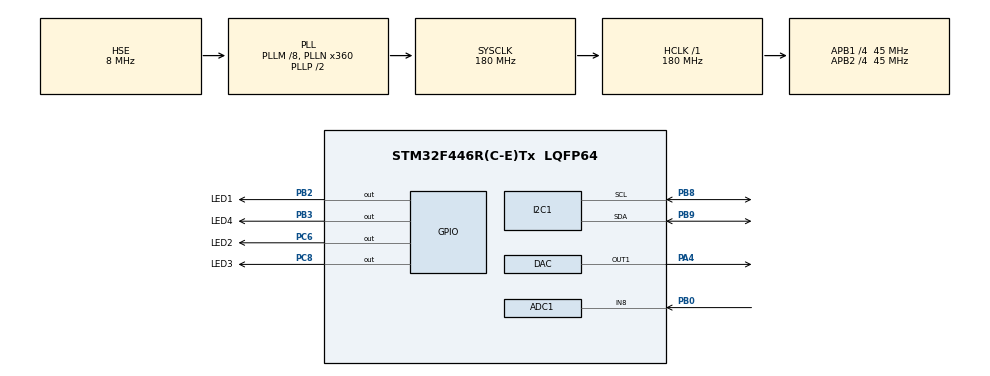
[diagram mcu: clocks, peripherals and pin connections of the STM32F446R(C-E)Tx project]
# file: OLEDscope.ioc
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ADC1.Channel-8\#ChannelRegularConversion=ADC_CHANNEL_8
ADC1.ClockPrescaler=ADC_CLOCK_SYNC_PCLK_DIV2
ADC1.DataAlign=ADC_DATAALIGN_RIGHT
ADC1.ExternalTrigConv=ADC_EXTERNALTRIGCONV_T3_TRGO
ADC1.NbrOfConversionFlag=1
ADC1.Rank-8\#ChannelRegularConversion=1
ADC1.SamplingTime-8\#ChannelRegularConversion=ADC_SAMPLETIME_3CYCLES
ADC1.master=1
DAC.DAC_Trigger=DAC_TRIGGER_T6_TRGO
Dma.DAC1.0.Direction=DMA_MEMORY_TO_PERIPH
Dma.DAC1.0.FIFOMode=DMA_FIFOMODE_ENABLE
Dma.DAC1.0.FIFOThreshold=DMA_FIFO_THRESHOLD_FULL
Dma.DAC1.0.Instance=DMA1_Stream5
Dma.DAC1.0.MemBurst=DMA_MBURST_SINGLE
Dma.DAC1.0.MemDataAlignment=DMA_MDATAALIGN_WORD
Dma.DAC1.0.MemInc=DMA_MINC_ENABLE
Dma.DAC1.0.Mode=DMA_CIRCULAR
Dma.DAC1.0.PeriphBurst=DMA_PBURST_SINGLE
Dma.DAC1.0.PeriphDataAlignment=DMA_PDATAALIGN_WORD
Dma.DAC1.0.PeriphInc=DMA_PINC_DISABLE
Dma.DAC1.0.Priority=DMA_PRIORITY_HIGH
Dma.Request0=DAC1
I2C1.I2C_Mode=I2C_Fast
Mcu.Family=STM32F4
Mcu.Name=STM32F446R(C-E)Tx
Mcu.Package=LQFP64
NVIC.ADC_IRQn=true\:0\:0\:false\:false\:true\:true\:true\:true
NVIC.DMA1_Stream5_IRQn=true\:0\:0\:false\:false\:true\:false\:true\:true
NVIC.PriorityGroup=NVIC_PRIORITYGROUP_4
PA13.Mode=Serial_Wire
PA13.Signal=SYS_JTMS-SWDIO
PA14.Mode=Serial_Wire
PA14.Signal=SYS_JTCK-SWCLK
PA4.Signal=COMP_DAC1_group
PB0.Signal=ADCx_IN8
PB2.GPIO_Label=LED1
PB2.Signal=GPIO_Output
PB3.GPIO_Label=LED4
PB3.Signal=GPIO_Output
PB4.Signal=I2C3_SDA
PB8.Mode=I2C
PB8.Signal=I2C1_SCL
PB9.Mode=I2C
PB9.Signal=I2C1_SDA
PC6.GPIO_Label=LED2
PC6.Signal=GPIO_Output
PC8.GPIO_Label=LED3
PC8.Signal=GPIO_Output
PH0-OSC_IN.Mode=HSE-External-Oscillator
PH0-OSC_IN.Signal=RCC_OSC_IN
PH1-OSC_OUT.Mode=HSE-External-Oscillator
PH1-OSC_OUT.Signal=RCC_OSC_OUT
ProjectManager.HeapSize=0x200
ProjectManager.StackSize=0x400
ProjectManager.TargetToolchain=STM32CubeIDE
RCC.AHBFreq_Value=180000000
RCC.APB1CLKDivider=RCC_HCLK_DIV4
RCC.APB1Freq_Value=45000000
RCC.APB1TimFreq_Value=90000000
RCC.APB2CLKDivider=RCC_HCLK_DIV4
RCC.APB2Freq_Value=45000000
RCC.APB2TimFreq_Value=90000000
RCC.CortexFreq_Value=180000000
RCC.HCLKFreq_Value=180000000
RCC.HSE_VALUE=8000000
RCC.PLLM=8
RCC.PLLN=360
RCC.PLLSourceVirtual=RCC_PLLSOURCE_HSE
RCC.SYSCLKFreq_VALUE=180000000
RCC.SYSCLKSource=RCC_SYSCLKSOURCE_PLLCLK
RCC.USBFreq_Value=180000000
RCC.VCOOutputFreq_Value=360000000
SH.ADCx_IN8.0=ADC1_IN8,IN8
SH.COMP_DAC1_group.0=DAC_OUT1,DAC_OUT1
TIM3.AutoReloadPreload=TIM_AUTORELOAD_PRELOAD_ENABLE
TIM3.Period=10000-1
TIM3.Prescaler=90-1
TIM3.TIM_MasterOutputTrigger=TIM_TRGO_UPDATE
TIM6.AutoReloadPreload=TIM_AUTORELOAD_PRELOAD_ENABLE
TIM6.Period=90-1
TIM6.Prescaler=1-1
TIM6.TIM_MasterOutputTrigger=TIM_TRGO_UPDATE
VP_TIM3_VS_ClockSourceINT.Mode=Internal
VP_TIM6_VS_ClockSourceINT.Mode=Enable_Timer
board=custom

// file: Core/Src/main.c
/* USER CODE BEGIN Header */
/**
  ******************************************************************************
  * @file           : main.c
  * @brief          : Main program body
  ******************************************************************************
  * @attention
  *
  * Copyright (c) 2026 STMicroelectronics.
  * All rights reserved.
  *
  * This software is licensed under terms that can be found in the LICENSE file
  * in the root directory of this software component.
  * If no LICENSE file comes with this software, it is provided AS-IS.
  *
  ******************************************************************************
  */
/* USER CODE END Header */
#include "main.h"

/* USER CODE BEGIN Includes */
#include "ssd1306.h"
#include <math.h>
/* USER CODE END Includes */

/* USER CODE BEGIN PD */
#define PI 3.1415926536
/* USER CODE END PD */

ADC_HandleTypeDef hadc1;

DAC_HandleTypeDef hdac;
DMA_HandleTypeDef hdma_dac1;

I2C_HandleTypeDef hi2c1;

TIM_HandleTypeDef htim3;
TIM_HandleTypeDef htim6;

/* USER CODE BEGIN PV */
//Button1-4
GPIO_TypeDef *buttonPort[4] = {GPIOB,GPIOB,GPIOB,GPIOB};
int button[4] = {GPIO_PIN_15,GPIO_PIN_12,GPIO_PIN_13,GPIO_PIN_14};
//LED1-LED4
GPIO_TypeDef *ledPort[4] = {GPIOB,GPIOC,GPIOC,GPIOB};
int ledGPIO[4] = {GPIO_PIN_2,GPIO_PIN_6,GPIO_PIN_8,GPIO_PIN_3};
uint32_t waveTable[1000];

uint8_t isTrigUp=1;
uint16_t trigValue=2048;
uint16_t timeNow=1;
//uint16_t timePreScaler[10]={159,159,159,159,159,159,159,159,1599,1599};
//uint16_t timePeriod[10]={4,9,49,99,499,999,4999,9999,4999,9999};
uint16_t timePreScaler[10]={89,89,89,89,89,89,899,899,899,899};
uint16_t timePeriod[10]={1,9,19,99,199,999,199,999,1999,9999};
char time[10][8]={"500k","100k","50k","10k","5k","1k","500Hz","100Hz","50Hz","10Hz"};
uint16_t data[512];
uint16_t dataOffset=0;
int i=0;
uint8_t isDataReady=0;
/* USER CODE END PV */

void SystemClock_Config(void);
static void MX_GPIO_Init(void);
static void MX_DMA_Init(void);
static void MX_ADC1_Init(void);
static void MX_DAC_Init(void);
static void MX_TIM6_Init(void);
static void MX_TIM3_Init(void);
static void MX_I2C1_Init(void);

/* USER CODE BEGIN 0 */
void HAL_ADC_ConvCpltCallback(ADC_HandleTypeDef *hadc){
  if(hadc==&hadc1){
    data[i+dataOffset]=HAL_ADC_GetValue(hadc);
    i = (i+1)&0xff;
    if(!i){
    	HAL_GPIO_TogglePin(GPIOA,GPIO_PIN_5);
    	if(!isDataReady){
    	   if(!dataOffset) dataOffset=256;
    	   else dataOffset=0;
    	}
    	isDataReady=1;
    }
    HAL_ADC_Start_IT(hadc);
  }
}

int changeTimValue(uint16_t preScaler,uint16_t period){
	  htim3.Instance = TIM3;
	  htim3.Init.Prescaler = preScaler;
	  htim3.Init.CounterMode = TIM_COUNTERMODE_UP;
	  htim3.Init.Period = period;
	  htim3.Init.ClockDivision = TIM_CLOCKDIVISION_DIV1;
	  htim3.Init.AutoReloadPreload = TIM_AUTORELOAD_PRELOAD_ENABLE;
	  if (HAL_TIM_Base_Init(&htim3) != HAL_OK)
	  {
	    Error_Handler();
	  }
	  return 1;
}

int isButtonPressed(int bt){
	int x1=HAL_GPIO_ReadPin(buttonPort[bt&3],button[bt&3]);
	HAL_Delay(50);  //Delay for a bit to check for debouncing
	int x2=HAL_GPIO_ReadPin(buttonPort[bt&3],button[bt&3]);
	if((x1==x2)&&(x2==0)){
		HAL_GPIO_WritePin(ledPort[bt],ledGPIO[bt],1);
		while(!HAL_GPIO_ReadPin(buttonPort[bt&3],button[bt&3])){
			HAL_Delay(10);
		}
		HAL_GPIO_WritePin(ledPort[bt],ledGPIO[bt],0);
		return 1;
	}
	return 0;
}

/* USER CODE END 0 */

int main(void)
{

  /* USER CODE BEGIN 1 */
  int i;
  int j,jj;
  int sData;
  /* USER CODE END 1 */

  /* MCU Configuration--------------------------------------------------------*/

  /* Reset of all peripherals, Initializes the Flash interface and the Systick. */
  HAL_Init();

  /* Configure the system clock */
  SystemClock_Config();

  /* Initialize all configured peripherals */
  MX_GPIO_Init();
  MX_DMA_Init();
  MX_ADC1_Init();
  MX_DAC_Init();
  MX_TIM6_Init();
  MX_TIM3_Init();
  MX_I2C1_Init();
  /* USER CODE BEGIN 2 */
  //Sine wave generation
  for(i=0;i<1000;i++)
    waveTable[i] = (uint32_t)(sin((float)i*2*PI/1000.0)*(1241.212121)+2048);
  HAL_DAC_Start_DMA(&hdac,DAC_CHANNEL_1,waveTable,1000,DAC_ALIGN_12B_R);
  HAL_TIM_Base_Start(&htim6);

  ssd1306_Init();
  HAL_ADC_Start_IT(&hadc1);
  HAL_TIM_Base_Start_IT(&htim3);
  changeTimValue(timePreScaler[timeNow],timePeriod[timeNow]);
  /* USER CODE END 2 */

  /* Infinite loop */
  /* USER CODE BEGIN WHILE */
  while (1)
  {
    for(int i=0;i<4;i++){
    	if(isButtonPressed(i)){
    		switch(i){
    		case 0: //toggle time scale
    			if(timeNow>6){ timeNow=1; }else{ timeNow++;}
    			changeTimValue(timePreScaler[timeNow],timePeriod[timeNow]);
    			break;
    		case 1: // increase trigger voltage
    			if(trigValue<4000){trigValue+=64;} break;
    		case 2: // decrease trigger voltage
    			if(trigValue>0){trigValue-=64;}break;
    		case 3: // toggle trigger up/down
    			if(isTrigUp) isTrigUp=0; else isTrigUp=1; break;
    		}
    	}
    }
	if(isDataReady){
		if(dataOffset) sData=0; else sData=256; //Use another buffer
		isDataReady=0;
		ssd1306_Fill(Black);
		ssd1306_SetCursor(0,0);
		ssd1306_WriteString(time[timeNow],Font_6x8,White);
		ssd1306_SetCursor(120,(4095-trigValue)>>7);
		ssd1306_WriteString("<",Font_6x8,White);
		ssd1306_SetCursor(120,0);
		if(isTrigUp){
			ssd1306_WriteString("^",Font_6x8,White);
		}else{
			ssd1306_WriteString("v",Font_6x8,White);
		}
		for(j=0;j<255;j++){
			if(isTrigUp){
				if((data[j+sData]<trigValue)&&(data[j+sData+1]>=trigValue))break;
			}else{
				if((data[j+sData]>trigValue)&&(data[j+sData+1]<=trigValue))break;
			}
		}
		if(j==255){
			j=0;
			ssd1306_SetCursor(120,10);
			ssd1306_WriteString("X",Font_6x8,White);
		}
		for(jj=0;(jj<127)&&(j<255);jj++,j++){
			ssd1306_Line(jj,31-(data[j+sData]>>7),jj+1,31-(data[j+sData+1]>>7),White);
		}
		ssd1306_UpdateScreen();
	}
    /* USER CODE END WHILE */

  }
}

void SystemClock_Config(void)
{
  RCC_OscInitTypeDef RCC_OscInitStruct = {0};
  RCC_ClkInitTypeDef RCC_ClkInitStruct = {0};

  /** Configure the main internal regulator output voltage
  */
  __HAL_RCC_PWR_CLK_ENABLE();
  __HAL_PWR_VOLTAGESCALING_CONFIG(PWR_REGULATOR_VOLTAGE_SCALE1);

  /** Initializes the RCC Oscillators according to the specified parameters
  * in the RCC_OscInitTypeDef structure.
  */
  RCC_OscInitStruct.OscillatorType = RCC_OSCILLATORTYPE_HSE;
  RCC_OscInitStruct.HSEState = RCC_HSE_ON;
  RCC_OscInitStruct.PLL.PLLState = RCC_PLL_ON;
  RCC_OscInitStruct.PLL.PLLSource = RCC_PLLSOURCE_HSE;
  RCC_OscInitStruct.PLL.PLLM = 8;
  RCC_OscInitStruct.PLL.PLLN = 360;
  RCC_OscInitStruct.PLL.PLLP = RCC_PLLP_DIV2;
  RCC_OscInitStruct.PLL.PLLQ = 2;
  RCC_OscInitStruct.PLL.PLLR = 2;
  if (HAL_RCC_OscConfig(&RCC_OscInitStruct) != HAL_OK)
  {
    Error_Handler();
  }

  /** Activate the Over-Drive mode
  */
  if (HAL_PWREx_EnableOverDrive() != HAL_OK)
  {
    Error_Handler();
  }

  /** Initializes the CPU, AHB and APB buses clocks
  */
  RCC_ClkInitStruct.ClockType = RCC_CLOCKTYPE_HCLK|RCC_CLOCKTYPE_SYSCLK
                              |RCC_CLOCKTYPE_PCLK1|RCC_CLOCKTYPE_PCLK2;
  RCC_ClkInitStruct.SYSCLKSource = RCC_SYSCLKSOURCE_PLLCLK;
  RCC_ClkInitStruct.AHBCLKDivider = RCC_SYSCLK_DIV1;
  RCC_ClkInitStruct.APB1CLKDivider = RCC_HCLK_DIV4;
  RCC_ClkInitStruct.APB2CLKDivider = RCC_HCLK_DIV4;

  if (HAL_RCC_ClockConfig(&RCC_ClkInitStruct, FLASH_LATENCY_5) != HAL_OK)
  {
    Error_Handler();
  }
}

static void MX_ADC1_Init(void)
{

  ADC_ChannelConfTypeDef sConfig = {0};

  /** Configure the global features of the ADC (Clock, Resolution, Data Alignment and number of conversion)
  */
  hadc1.Instance = ADC1;
  hadc1.Init.ClockPrescaler = ADC_CLOCK_SYNC_PCLK_DIV2;
  hadc1.Init.Resolution = ADC_RESOLUTION_12B;
  hadc1.Init.ScanConvMode = DISABLE;
  hadc1.Init.ContinuousConvMode = DISABLE;
  hadc1.Init.DiscontinuousConvMode = DISABLE;
  hadc1.Init.ExternalTrigConvEdge = ADC_EXTERNALTRIGCONVEDGE_RISING;
  hadc1.Init.ExternalTrigConv = ADC_EXTERNALTRIGCONV_T3_TRGO;
  hadc1.Init.DataAlign = ADC_DATAALIGN_RIGHT;
  hadc1.Init.NbrOfConversion = 1;
  hadc1.Init.DMAContinuousRequests = DISABLE;
  hadc1.Init.EOCSelection = ADC_EOC_SINGLE_CONV;
  if (HAL_ADC_Init(&hadc1) != HAL_OK)
  {
    Error_Handler();
  }

  /** Configure for the selected ADC regular channel its corresponding rank in the sequencer and its sample time.
  */
  sConfig.Channel = ADC_CHANNEL_8;
  sConfig.Rank = 1;
  sConfig.SamplingTime = ADC_SAMPLETIME_3CYCLES;
  if (HAL_ADC_ConfigChannel(&hadc1, &sConfig) != HAL_OK)
  {
    Error_Handler();
  }

}

static void MX_DAC_Init(void)
{

  DAC_ChannelConfTypeDef sConfig = {0};

  /** DAC Initialization
  */
  hdac.Instance = DAC;
  if (HAL_DAC_Init(&hdac) != HAL_OK)
  {
    Error_Handler();
  }

  /** DAC channel OUT1 config
  */
  sConfig.DAC_Trigger = DAC_TRIGGER_T6_TRGO;
  sConfig.DAC_OutputBuffer = DAC_OUTPUTBUFFER_ENABLE;
  if (HAL_DAC_ConfigChannel(&hdac, &sConfig, DAC_CHANNEL_1) != HAL_OK)
  {
    Error_Handler();
  }

}

static void MX_I2C1_Init(void)
{

  hi2c1.Instance = I2C1;
  hi2c1.Init.ClockSpeed = 400000;
  hi2c1.Init.DutyCycle = I2C_DUTYCYCLE_2;
  hi2c1.Init.OwnAddress1 = 0;
  hi2c1.Init.AddressingMode = I2C_ADDRESSINGMODE_7BIT;
  hi2c1.Init.DualAddressMode = I2C_DUALADDRESS_DISABLE;
  hi2c1.Init.OwnAddress2 = 0;
  hi2c1.Init.GeneralCallMode = I2C_GENERALCALL_DISABLE;
  hi2c1.Init.NoStretchMode = I2C_NOSTRETCH_DISABLE;
  if (HAL_I2C_Init(&hi2c1) != HAL_OK)
  {
    Error_Handler();
  }

}

static void MX_TIM3_Init(void)
{

  TIM_ClockConfigTypeDef sClockSourceConfig = {0};
  TIM_MasterConfigTypeDef sMasterConfig = {0};

  htim3.Instance = TIM3;
  htim3.Init.Prescaler = 90-1;
  htim3.Init.CounterMode = TIM_COUNTERMODE_UP;
  htim3.Init.Period = 10000-1;
  htim3.Init.ClockDivision = TIM_CLOCKDIVISION_DIV1;
  htim3.Init.AutoReloadPreload = TIM_AUTORELOAD_PRELOAD_ENABLE;
  if (HAL_TIM_Base_Init(&htim3) != HAL_OK)
  {
    Error_Handler();
  }
  sClockSourceConfig.ClockSource = TIM_CLOCKSOURCE_INTERNAL;
  if (HAL_TIM_ConfigClockSource(&htim3, &sClockSourceConfig) != HAL_OK)
  {
    Error_Handler();
  }
  sMasterConfig.MasterOutputTrigger = TIM_TRGO_UPDATE;
  sMasterConfig.MasterSlaveMode = TIM_MASTERSLAVEMODE_DISABLE;
  if (HAL_TIMEx_MasterConfigSynchronization(&htim3, &sMasterConfig) != HAL_OK)
  {
    Error_Handler();
  }

}

static void MX_TIM6_Init(void)
{

  TIM_MasterConfigTypeDef sMasterConfig = {0};

  htim6.Instance = TIM6;
  htim6.Init.Prescaler = 1-1;
  htim6.Init.CounterMode = TIM_COUNTERMODE_UP;
  htim6.Init.Period = 90-1;
  htim6.Init.AutoReloadPreload = TIM_AUTORELOAD_PRELOAD_ENABLE;
  if (HAL_TIM_Base_Init(&htim6) != HAL_OK)
  {
    Error_Handler();
  }
  sMasterConfig.MasterOutputTrigger = TIM_TRGO_UPDATE;
  sMasterConfig.MasterSlaveMode = TIM_MASTERSLAVEMODE_DISABLE;
  if (HAL_TIMEx_MasterConfigSynchronization(&htim6, &sMasterConfig) != HAL_OK)
  {
    Error_Handler();
  }

}

static void MX_DMA_Init(void)
{

  /* DMA controller clock enable */
  __HAL_RCC_DMA1_CLK_ENABLE();

  /* DMA interrupt init */
  /* DMA1_Stream5_IRQn interrupt configuration */
  HAL_NVIC_SetPriority(DMA1_Stream5_IRQn, 0, 0);
  HAL_NVIC_EnableIRQ(DMA1_Stream5_IRQn);

}

static void MX_GPIO_Init(void)
{
  GPIO_InitTypeDef GPIO_InitStruct = {0};

  /* GPIO Ports Clock Enable */
  __HAL_RCC_GPIOH_CLK_ENABLE();
  __HAL_RCC_GPIOA_CLK_ENABLE();
  __HAL_RCC_GPIOB_CLK_ENABLE();
  __HAL_RCC_GPIOC_CLK_ENABLE();

  /*Configure GPIO pin Output Level */
  HAL_GPIO_WritePin(GPIOB, LED1_Pin|LED4_Pin, GPIO_PIN_RESET);

  /*Configure GPIO pin Output Level */
  HAL_GPIO_WritePin(GPIOC, LED2_Pin|LED3_Pin, GPIO_PIN_RESET);

  /*Configure GPIO pins : LED1_Pin LED4_Pin */
  GPIO_InitStruct.Pin = LED1_Pin|LED4_Pin;
  GPIO_InitStruct.Mode = GPIO_MODE_OUTPUT_PP;
  GPIO_InitStruct.Pull = GPIO_NOPULL;
  GPIO_InitStruct.Speed = GPIO_SPEED_FREQ_LOW;
  HAL_GPIO_Init(GPIOB, &GPIO_InitStruct);

  /*Configure GPIO pins : LED2_Pin LED3_Pin */
  GPIO_InitStruct.Pin = LED2_Pin|LED3_Pin;
  GPIO_InitStruct.Mode = GPIO_MODE_OUTPUT_PP;
  GPIO_InitStruct.Pull = GPIO_NOPULL;
  GPIO_InitStruct.Speed = GPIO_SPEED_FREQ_LOW;
  HAL_GPIO_Init(GPIOC, &GPIO_InitStruct);

  /*Configure GPIO pin : PB4 */
  GPIO_InitStruct.Pin = GPIO_PIN_4;
  GPIO_InitStruct.Mode = GPIO_MODE_AF_OD;
  GPIO_InitStruct.Pull = GPIO_NOPULL;
  GPIO_InitStruct.Speed = GPIO_SPEED_FREQ_VERY_HIGH;
  GPIO_InitStruct.Alternate = GPIO_AF4_I2C3;
  HAL_GPIO_Init(GPIOB, &GPIO_InitStruct);

}

void Error_Handler(void)
{
  __disable_irq();
  while (1)
  {
  }
}
